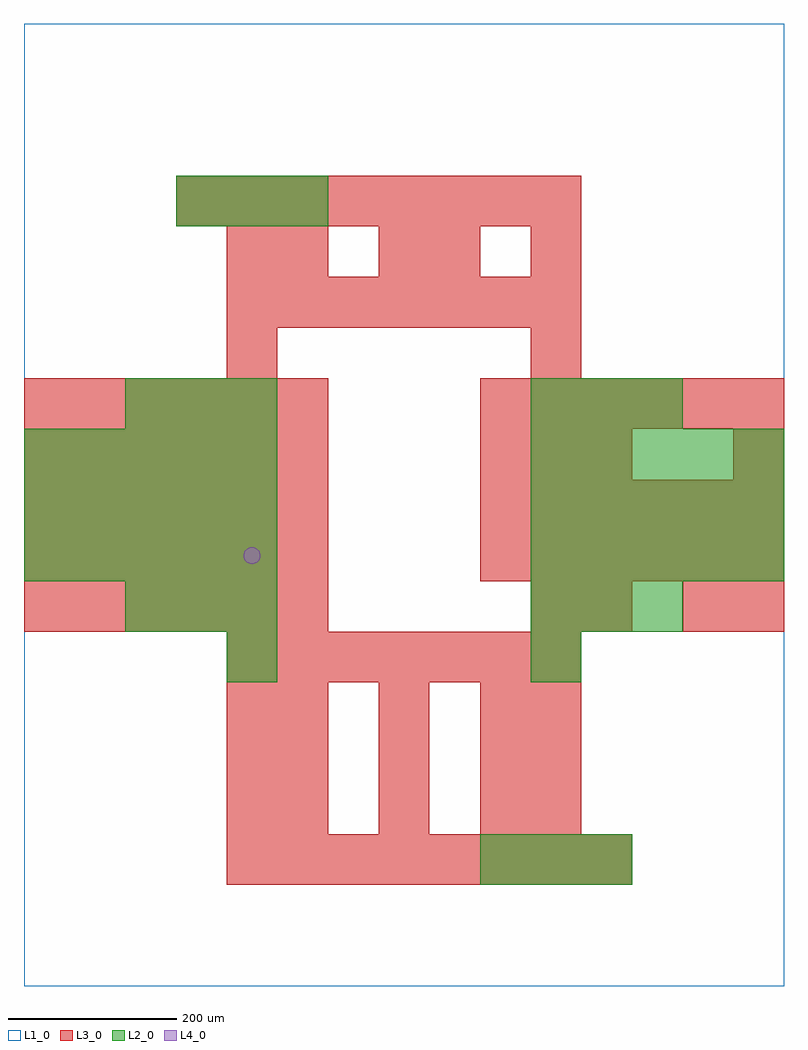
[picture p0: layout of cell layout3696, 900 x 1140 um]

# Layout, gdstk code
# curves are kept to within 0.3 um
import gdstk
lib = gdstk.Library(unit=1e-6, precision=1e-09)
def R(c, l, rs):  # rectangles x0, y0, x1, y1
    for r in rs: c.add(gdstk.rectangle(r[:2], r[2:], *l))
def A(c, l, x, y, w, h, nx, ny, dx, dy):  # array of equal rectangles
    R(c, l, [(x+i*dx, y+j*dy, x+i*dx+w, y+j*dy+h) for i in range(nx) for j in range(ny)])
def P(c, l, *ps):  # polygons
    for p in ps: c.add(gdstk.Polygon(p, *l))
L1_0 = (1, 0)
L2_0 = (2, 0)
L3_0 = (3, 0)
L4_0 = (4, 0)

layout3696 = lib.new_cell('layout3696')
R(layout3696, L1_0, [(0,0,900,1140)])
A(layout3696, L2_0, 540, 120, 60, 60, 3, 1, 60, 0)
A(layout3696, L2_0, 120, 420, 60, 60, 3, 2, 60, 240)
A(layout3696, L2_0, 600, 420, 60, 60, 3, 2, 60, 240)
A(layout3696, L2_0, 0, 480, 60, 60, 5, 3, 60, 60)
A(layout3696, L2_0, 600, 480, 60, 60, 5, 3, 60, 60)
A(layout3696, L2_0, 180, 900, 60, 60, 3, 1, 60, 0)
R(layout3696, L2_0, [(240,360,300,420), (600,360,660,420)])
A(layout3696, L3_0, 240, 120, 60, 60, 8, 1, 60, 0)
A(layout3696, L3_0, 240, 180, 60, 60, 1, 3, 0, 60)
A(layout3696, L3_0, 300, 180, 60, 60, 3, 3, 120, 60)
A(layout3696, L3_0, 600, 180, 60, 60, 1, 3, 0, 60)
A(layout3696, L3_0, 240, 360, 60, 60, 7, 2, 60, 420)
A(layout3696, L3_0, 0, 420, 60, 60, 6, 5, 60, 60)
A(layout3696, L3_0, 540, 480, 60, 60, 6, 2, 60, 60)
A(layout3696, L3_0, 540, 600, 60, 60, 3, 1, 60, 0)
A(layout3696, L3_0, 540, 660, 60, 60, 6, 1, 60, 0)
A(layout3696, L3_0, 180, 900, 60, 60, 8, 1, 60, 0)
R(layout3696, L3_0, [(600,420,660,480), (660,420,720,480), (780,420,840,480), (840,420,900,480), (840,600,900,660), (240,720,300,780), (600,720,660,780), (240,840,300,900), (300,840,360,900), (420,840,480,900), (480,840,540,900), (600,840,660,900)])
P(layout3696, L4_0, [(280,510),(279.239,513.827),(277.071,517.071),(273.827,519.239),(270,520),(266.173,519.239),(262.929,517.071),(260.761,513.827),(260,510),(260.761,506.173),(262.929,502.929),(266.173,500.761),(270,500),(273.827,500.761),(277.071,502.929),(279.239,506.173)])

lib.write_gds('layout3696.gds')
